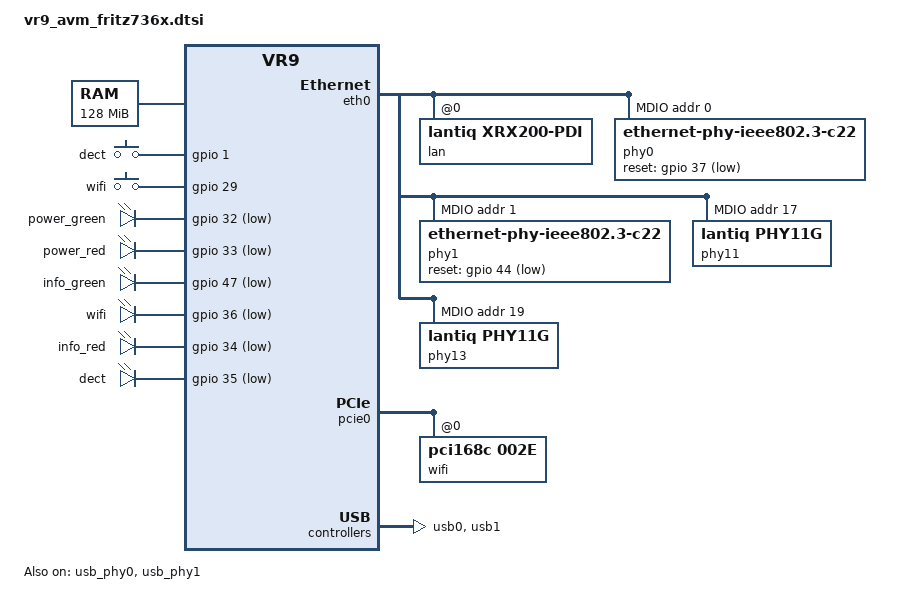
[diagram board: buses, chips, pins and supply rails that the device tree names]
// SPDX-License-Identifier: GPL-2.0-or-later OR MIT

#include "vr9.dtsi"

#include <dt-bindings/input/input.h>
#include <dt-bindings/mips/lantiq_rcu_gphy.h>

/ {
	compatible = "avm,fritz736x", "lantiq,xway", "lantiq,vr9";

	chosen {
		bootargs = "console=ttyLTQ0,115200";
	};

	aliases {
		led-boot = &power_green;
		led-failsafe = &power_red;
		led-running = &power_green;
		led-upgrade = &power_red;

		led-dsl = &info_green;
		led-wifi = &wifi;
	};

	memory@0 {
		device_type = "memory";
		reg = <0x0 0x8000000>;
	};

	keys {
		compatible = "gpio-keys-polled";
		poll-interval = <100>;

		dect {
			label = "dect";
			gpios = <&gpio 1 GPIO_ACTIVE_HIGH>;
			linux,code = <KEY_PHONE>;
		};

		wifi {
			label = "wifi";
			gpios = <&gpio 29 GPIO_ACTIVE_HIGH>;
			linux,code = <KEY_WLAN>;
		};
	};

	leds: leds {
		compatible = "gpio-leds";

		power_green: power {
			gpios = <&gpio 32 GPIO_ACTIVE_LOW>;
			default-state = "keep";
		};

		power_red: power2 {
			gpios = <&gpio 33 GPIO_ACTIVE_LOW>;
		};

		info_green: info_green {
			gpios = <&gpio 47 GPIO_ACTIVE_LOW>;
		};

		wifi: wifi {
			gpios = <&gpio 36 GPIO_ACTIVE_LOW>;
		};

		info_red: info_red {
			gpios = <&gpio 34 GPIO_ACTIVE_LOW>;
		};

		dect: dect {
			gpios = <&gpio 35 GPIO_ACTIVE_LOW>;
		};
	};
};

&eth0 {
	lan: interface@0 {
		compatible = "lantiq,xrx200-pdi";
		#address-cells = <1>;
		#size-cells = <0>;
		reg = <0>;
		mtd-mac-address = <&urlader 0xa91>;
		mtd-mac-address-increment = <(-2)>;
		lantiq,switch;

		ethernet@0 {
			compatible = "lantiq,xrx200-pdi-port";
			reg = <0>;
			phy-mode = "rmii";
			phy-handle = <&phy0>;
		};

		ethernet@1 {
			compatible = "lantiq,xrx200-pdi-port";
			reg = <1>;
			phy-mode = "rmii";
			phy-handle = <&phy1>;
		};

		ethernet@2 {
			compatible = "lantiq,xrx200-pdi-port";
			reg = <2>;
			phy-mode = "gmii";
			phy-handle = <&phy11>;
		};

		ethernet@3 {
			compatible = "lantiq,xrx200-pdi-port";
			reg = <4>;
			phy-mode = "gmii";
			phy-handle = <&phy13>;
		};
	};

	mdio {
		#address-cells = <1>;
		#size-cells = <0>;
		compatible = "lantiq,xrx200-mdio";

		phy0: ethernet-phy@0 {
			reg = <0x00>;
			compatible = "ethernet-phy-ieee802.3-c22";
			reset-gpios = <&gpio 37 GPIO_ACTIVE_LOW>;
		};

		phy1: ethernet-phy@1 {
			reg = <0x01>;
			compatible = "ethernet-phy-ieee802.3-c22";
			reset-gpios = <&gpio 44 GPIO_ACTIVE_LOW>;
		};

		phy11: ethernet-phy@11 {
			reg = <0x11>;
			compatible = "lantiq,phy11g", "ethernet-phy-ieee802.3-c22";
		};

		phy13: ethernet-phy@13 {
			reg = <0x13>;
			compatible = "lantiq,phy11g", "ethernet-phy-ieee802.3-c22";
		};
	};
};

&gphy0 {
	lantiq,gphy-mode = <GPHY_MODE_GE>;
};

&gphy1 {
	lantiq,gphy-mode = <GPHY_MODE_GE>;
};

&gpio {
	pinctrl-names = "default";
	pinctrl-0 = <&state_default>;

	state_default: pinmux {
		phy-rst {
			lantiq,pins = "io37", "io44";
			lantiq,pull = <0>;
			lantiq,open-drain;
			lantiq,output = <1>;
		};
	};

};

&pcie0 {
	status = "okay";

	pcie@0 {
		reg = <0 0 0 0 0>;
		#interrupt-cells = <1>;
		#size-cells = <1>;
		#address-cells = <2>;
		device_type = "pci";

		wifi@168c,002e {
			compatible = "pci168c,002e";
			reg = <0 0 0 0 0>;
			qca,no-eeprom; /* load from ath9k-eeprom-pci-0000:01:00.0.bin */
		};
	};
};

&usb_phy0 {
	status = "okay";
};

&usb_phy1 {
	status = "okay";
};

&usb0 {
	status = "okay";
};

&usb1 {
	status = "okay";
};
